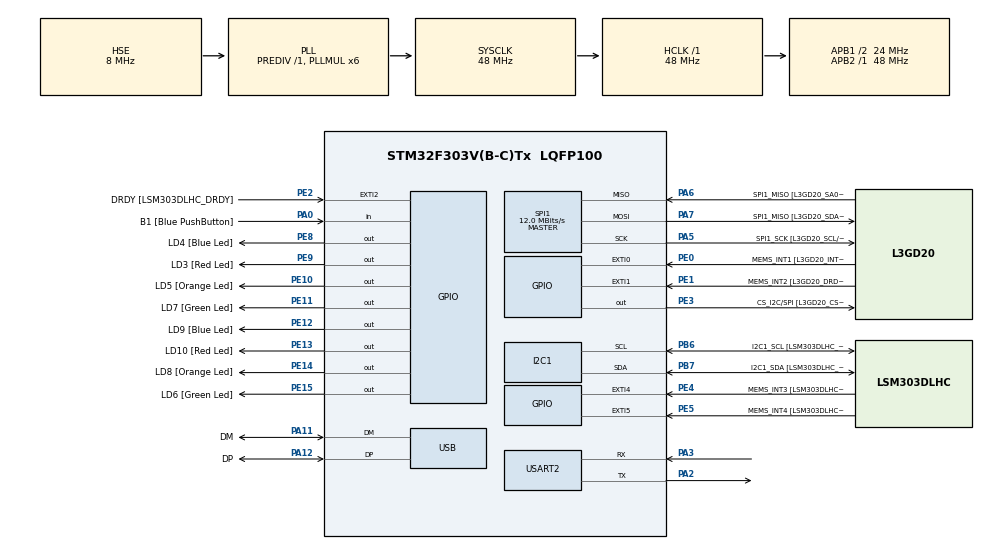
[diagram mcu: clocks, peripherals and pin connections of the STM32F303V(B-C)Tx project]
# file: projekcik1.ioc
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I2C1.Timing=0x00201D2B
I2C1.Timing-I2C=0x2000090E
Mcu.Family=STM32F3
Mcu.Name=STM32F303V(B-C)Tx
Mcu.Package=LQFP100
NVIC.PriorityGroup=NVIC_PRIORITYGROUP_0
PA0.GPIO_Label=B1 [Blue PushButton]
PA0.Signal=GPIO_Input
PA11.GPIO_Label=DM
PA11.Mode=Device
PA11.Signal=USB_DM
PA12.GPIO_Label=DP
PA12.Mode=Device
PA12.Signal=USB_DP
PA13.GPIO_Label=SWDIO
PA13.Mode=Serial_Wire
PA13.Signal=SYS_JTMS-SWDIO
PA14.GPIO_Label=SWCLK
PA14.Mode=Serial_Wire
PA14.Signal=SYS_JTCK-SWCLK
PA2.Mode=Asynchronous
PA2.Signal=USART2_TX
PA3.Mode=Asynchronous
PA3.Signal=USART2_RX
PA5.GPIO_Label=SPI1_SCK [L3GD20_SCL/SPC]
PA5.Mode=Full_Duplex_Master
PA5.Signal=SPI1_SCK
PA6.GPIO_Label=SPI1_MISO [L3GD20_SA0/SDO]
PA6.Mode=Full_Duplex_Master
PA6.Signal=SPI1_MISO
PA7.GPIO_Label=SPI1_MISO [L3GD20_SDA/SDI/SDO]
PA7.Mode=Full_Duplex_Master
PA7.Signal=SPI1_MOSI
PB3.GPIO_Label=SWO
PB3.Signal=SYS_JTDO-TRACESWO
PB6.GPIO_Label=I2C1_SCL [LSM303DLHC_SCL]
PB6.GPIO_Pu=GPIO_PULLUP
PB6.Mode=I2C
PB6.Signal=I2C1_SCL
PB7.GPIO_Label=I2C1_SDA [LSM303DLHC_SDA]
PB7.GPIO_Pu=GPIO_PULLUP
PB7.Mode=I2C
PB7.Signal=I2C1_SDA
PC14-OSC32_IN.GPIO_Label=OSC32_IN
PC14-OSC32_IN.Signal=RCC_OSC32_IN
PC15-OSC32_OUT.GPIO_Label=OSC32_OUT
PC15-OSC32_OUT.Signal=RCC_OSC32_OUT
PE0.GPIO_Label=MEMS_INT1 [L3GD20_INT1]
PE0.GPIO_ModeDefaultEXTI=GPIO_MODE_EVT_RISING
PE0.Signal=GPXTI0
PE1.GPIO_Label=MEMS_INT2 [L3GD20_DRDY/INT2]
PE1.GPIO_ModeDefaultEXTI=GPIO_MODE_EVT_RISING
PE1.Signal=GPXTI1
PE10.GPIO_Label=LD5 [Orange Led]
PE10.Signal=GPIO_Output
PE11.GPIO_Label=LD7 [Green Led]
PE11.Signal=GPIO_Output
PE12.GPIO_Label=LD9 [Blue Led]
PE12.Signal=GPIO_Output
PE13.GPIO_Label=LD10 [Red Led]
PE13.Signal=GPIO_Output
PE14.GPIO_Label=LD8 [Orange Led]
PE14.Signal=GPIO_Output
PE15.GPIO_Label=LD6 [Green Led]
PE15.Signal=GPIO_Output
PE2.GPIO_Label=DRDY [LSM303DLHC_DRDY]
PE2.GPIO_ModeDefaultEXTI=GPIO_MODE_EVT_RISING
PE2.Signal=GPXTI2
PE3.GPIO_Label=CS_I2C/SPI [L3GD20_CS_I2C/SPI]
PE3.Signal=GPIO_Output
PE4.GPIO_Label=MEMS_INT3 [LSM303DLHC_INT1]
PE4.GPIO_ModeDefaultEXTI=GPIO_MODE_EVT_RISING
PE4.Signal=GPXTI4
PE5.GPIO_Label=MEMS_INT4 [LSM303DLHC_INT2]
PE5.GPIO_ModeDefaultEXTI=GPIO_MODE_EVT_RISING
PE5.Signal=GPXTI5
PE8.GPIO_Label=LD4 [Blue Led]
PE8.Signal=GPIO_Output
PE9.GPIO_Label=LD3 [Red Led]
PE9.Signal=GPIO_Output
PF0-OSC_IN.GPIO_Label=OSC_IN
PF0-OSC_IN.Mode=HSE-External-Clock-Source
PF0-OSC_IN.Signal=RCC_OSC_IN
PF1-OSC_OUT.GPIO_Label=OSC_OUT
PF1-OSC_OUT.Signal=RCC_OSC_OUT
ProjectManager.HeapSize=0x200
ProjectManager.StackSize=0x400
ProjectManager.TargetToolchain=STM32CubeIDE
RCC.AHBFreq_Value=48000000
RCC.APB1CLKDivider=RCC_HCLK_DIV2
RCC.APB1Freq_Value=24000000
RCC.APB1TimFreq_Value=48000000
RCC.APB2Freq_Value=48000000
RCC.APB2TimFreq_Value=48000000
RCC.CortexFreq_Value=48000000
RCC.HCLKFreq_Value=48000000
RCC.HSE_VALUE=8000000
RCC.HSI_VALUE=8000000
RCC.LSE_VALUE=32768
RCC.PLLMUL=RCC_PLL_MUL6
RCC.SYSCLKFreq_VALUE=48000000
RCC.SYSCLKSourceVirtual=RCC_SYSCLKSOURCE_PLLCLK
RCC.USBFreq_Value=48000000
SPI1.BaudRatePrescaler=SPI_BAUDRATEPRESCALER_4
SPI1.BaudRatePrescaler-Full_Duplex_Master=SPI_BAUDRATEPRESCALER_2
SPI1.CalculateBaudRate=12.0 MBits/s
SPI1.CalculateBaudRate-Full_Duplex_Master=24.0 MBits/s
SPI1.Direction=SPI_DIRECTION_2LINES
SPI1.Mode=SPI_MODE_MASTER
SPI1.Mode-Full_Duplex_Master=SPI_MODE_MASTER
SPI1.VirtualType=VM_MASTER
USART2.VirtualMode-Asynchronous=VM_ASYNC
board=STM32F3DISCOVERY

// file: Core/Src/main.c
/* USER CODE BEGIN Header */
/**
  ******************************************************************************
  * @file           : main.c
  * @brief          : Main program body
  ******************************************************************************
  * @attention
  *
  * Copyright (c) 2026 STMicroelectronics.
  * All rights reserved.
  *
  * This software is licensed under terms that can be found in the LICENSE file
  * in the root directory of this software component.
  * If no LICENSE file comes with this software, it is provided AS-IS.
  *
  ******************************************************************************
  */
/* USER CODE END Header */
#include "main.h"
#include <stdio.h>

I2C_HandleTypeDef hi2c1;

SPI_HandleTypeDef hspi1;

UART_HandleTypeDef huart2;

PCD_HandleTypeDef hpcd_USB_FS;

void SystemClock_Config(void);
static void MX_GPIO_Init(void);
static void MX_I2C1_Init(void);
static void MX_SPI1_Init(void);
static void MX_USART2_UART_Init(void);
static void MX_USB_PCD_Init(void);

int main(void)
{

  /* MCU Configuration--------------------------------------------------------*/

  /* Reset of all peripherals, Initializes the Flash interface and the Systick. */
  HAL_Init();

  /* Configure the system clock */
  SystemClock_Config();

  /* Initialize all configured peripherals */
  MX_GPIO_Init();
  MX_I2C1_Init();
  MX_SPI1_Init();
  MX_USART2_UART_Init();
  MX_USB_PCD_Init();
  /* USER CODE BEGIN 2 */
#define ACC_ADDR (0x19 << 1)

  uint8_t ctrl = 0x27;
  HAL_I2C_Mem_Write(&hi2c1, ACC_ADDR, 0x20, 1, &ctrl, 1, HAL_MAX_DELAY);
  /* USER CODE END 2 */

  /* Infinite loop */
  /* USER CODE BEGIN WHILE */
  while (1)
  {
	  uint8_t data[6];

	  HAL_I2C_Mem_Read(&hi2c1, ACC_ADDR, 0x28 | 0x80, 1, data, 6, HAL_MAX_DELAY);
	  int16_t ax = data[0] | (data[1] << 8);
	  int16_t ay = data[2] | (data[3] << 8);
	  int16_t az = data[4] | (data[5] << 8);
	  printf("%d %d %d\n", ax, ay, az);
	  int threshold = 12000;

	  HAL_GPIO_WritePin(GPIOE, GPIO_PIN_13, GPIO_PIN_RESET);
	  HAL_GPIO_WritePin(GPIOE, GPIO_PIN_15, GPIO_PIN_RESET);
	  HAL_GPIO_WritePin(GPIOE, GPIO_PIN_11, GPIO_PIN_RESET);
	  HAL_GPIO_WritePin(GPIOE, GPIO_PIN_9, GPIO_PIN_RESET);

	  // 2. warunki
	  if(ax > threshold)
	      HAL_GPIO_WritePin(GPIOE, GPIO_PIN_9, GPIO_PIN_SET);

	  if(ax < -threshold)
	      HAL_GPIO_WritePin(GPIOE, GPIO_PIN_13, GPIO_PIN_SET);

	  if(ay > threshold)
	      HAL_GPIO_WritePin(GPIOE, GPIO_PIN_15, GPIO_PIN_SET);

	  if(ay < -threshold)
	      HAL_GPIO_WritePin(GPIOE, GPIO_PIN_11, GPIO_PIN_SET);

	  }
    /* USER CODE END WHILE */

  }

void SystemClock_Config(void)
{
  RCC_OscInitTypeDef RCC_OscInitStruct = {0};
  RCC_ClkInitTypeDef RCC_ClkInitStruct = {0};
  RCC_PeriphCLKInitTypeDef PeriphClkInit = {0};

  /** Initializes the RCC Oscillators according to the specified parameters
  * in the RCC_OscInitTypeDef structure.
  */
  RCC_OscInitStruct.OscillatorType = RCC_OSCILLATORTYPE_HSI|RCC_OSCILLATORTYPE_HSE;
  RCC_OscInitStruct.HSEState = RCC_HSE_BYPASS;
  RCC_OscInitStruct.HSEPredivValue = RCC_HSE_PREDIV_DIV1;
  RCC_OscInitStruct.HSIState = RCC_HSI_ON;
  RCC_OscInitStruct.HSICalibrationValue = RCC_HSICALIBRATION_DEFAULT;
  RCC_OscInitStruct.PLL.PLLState = RCC_PLL_ON;
  RCC_OscInitStruct.PLL.PLLSource = RCC_PLLSOURCE_HSE;
  RCC_OscInitStruct.PLL.PLLMUL = RCC_PLL_MUL6;
  if (HAL_RCC_OscConfig(&RCC_OscInitStruct) != HAL_OK)
  {
    Error_Handler();
  }

  /** Initializes the CPU, AHB and APB buses clocks
  */
  RCC_ClkInitStruct.ClockType = RCC_CLOCKTYPE_HCLK|RCC_CLOCKTYPE_SYSCLK
                              |RCC_CLOCKTYPE_PCLK1|RCC_CLOCKTYPE_PCLK2;
  RCC_ClkInitStruct.SYSCLKSource = RCC_SYSCLKSOURCE_PLLCLK;
  RCC_ClkInitStruct.AHBCLKDivider = RCC_SYSCLK_DIV1;
  RCC_ClkInitStruct.APB1CLKDivider = RCC_HCLK_DIV2;
  RCC_ClkInitStruct.APB2CLKDivider = RCC_HCLK_DIV1;

  if (HAL_RCC_ClockConfig(&RCC_ClkInitStruct, FLASH_LATENCY_1) != HAL_OK)
  {
    Error_Handler();
  }
  PeriphClkInit.PeriphClockSelection = RCC_PERIPHCLK_USB|RCC_PERIPHCLK_USART2
                              |RCC_PERIPHCLK_I2C1;
  PeriphClkInit.Usart2ClockSelection = RCC_USART2CLKSOURCE_PCLK1;
  PeriphClkInit.I2c1ClockSelection = RCC_I2C1CLKSOURCE_HSI;
  PeriphClkInit.USBClockSelection = RCC_USBCLKSOURCE_PLL;
  if (HAL_RCCEx_PeriphCLKConfig(&PeriphClkInit) != HAL_OK)
  {
    Error_Handler();
  }
}

static void MX_I2C1_Init(void)
{

  hi2c1.Instance = I2C1;
  hi2c1.Init.Timing = 0x00201D2B;
  hi2c1.Init.OwnAddress1 = 0;
  hi2c1.Init.AddressingMode = I2C_ADDRESSINGMODE_7BIT;
  hi2c1.Init.DualAddressMode = I2C_DUALADDRESS_DISABLE;
  hi2c1.Init.OwnAddress2 = 0;
  hi2c1.Init.OwnAddress2Masks = I2C_OA2_NOMASK;
  hi2c1.Init.GeneralCallMode = I2C_GENERALCALL_DISABLE;
  hi2c1.Init.NoStretchMode = I2C_NOSTRETCH_DISABLE;
  if (HAL_I2C_Init(&hi2c1) != HAL_OK)
  {
    Error_Handler();
  }

  /** Configure Analogue filter
  */
  if (HAL_I2CEx_ConfigAnalogFilter(&hi2c1, I2C_ANALOGFILTER_ENABLE) != HAL_OK)
  {
    Error_Handler();
  }

  /** Configure Digital filter
  */
  if (HAL_I2CEx_ConfigDigitalFilter(&hi2c1, 0) != HAL_OK)
  {
    Error_Handler();
  }

}

static void MX_SPI1_Init(void)
{

  /* SPI1 parameter configuration*/
  hspi1.Instance = SPI1;
  hspi1.Init.Mode = SPI_MODE_MASTER;
  hspi1.Init.Direction = SPI_DIRECTION_2LINES;
  hspi1.Init.DataSize = SPI_DATASIZE_4BIT;
  hspi1.Init.CLKPolarity = SPI_POLARITY_LOW;
  hspi1.Init.CLKPhase = SPI_PHASE_1EDGE;
  hspi1.Init.NSS = SPI_NSS_SOFT;
  hspi1.Init.BaudRatePrescaler = SPI_BAUDRATEPRESCALER_4;
  hspi1.Init.FirstBit = SPI_FIRSTBIT_MSB;
  hspi1.Init.TIMode = SPI_TIMODE_DISABLE;
  hspi1.Init.CRCCalculation = SPI_CRCCALCULATION_DISABLE;
  hspi1.Init.CRCPolynomial = 7;
  hspi1.Init.CRCLength = SPI_CRC_LENGTH_DATASIZE;
  hspi1.Init.NSSPMode = SPI_NSS_PULSE_ENABLE;
  if (HAL_SPI_Init(&hspi1) != HAL_OK)
  {
    Error_Handler();
  }

}

static void MX_USART2_UART_Init(void)
{

  huart2.Instance = USART2;
  huart2.Init.BaudRate = 38400;
  huart2.Init.WordLength = UART_WORDLENGTH_8B;
  huart2.Init.StopBits = UART_STOPBITS_1;
  huart2.Init.Parity = UART_PARITY_NONE;
  huart2.Init.Mode = UART_MODE_TX_RX;
  huart2.Init.HwFlowCtl = UART_HWCONTROL_NONE;
  huart2.Init.OverSampling = UART_OVERSAMPLING_16;
  huart2.Init.OneBitSampling = UART_ONE_BIT_SAMPLE_DISABLE;
  huart2.AdvancedInit.AdvFeatureInit = UART_ADVFEATURE_NO_INIT;
  if (HAL_UART_Init(&huart2) != HAL_OK)
  {
    Error_Handler();
  }

}

static void MX_USB_PCD_Init(void)
{

  hpcd_USB_FS.Instance = USB;
  hpcd_USB_FS.Init.dev_endpoints = 8;
  hpcd_USB_FS.Init.speed = PCD_SPEED_FULL;
  hpcd_USB_FS.Init.phy_itface = PCD_PHY_EMBEDDED;
  hpcd_USB_FS.Init.low_power_enable = DISABLE;
  hpcd_USB_FS.Init.battery_charging_enable = DISABLE;
  if (HAL_PCD_Init(&hpcd_USB_FS) != HAL_OK)
  {
    Error_Handler();
  }

}

static void MX_GPIO_Init(void)
{
  GPIO_InitTypeDef GPIO_InitStruct = {0};

  /* GPIO Ports Clock Enable */
  __HAL_RCC_GPIOE_CLK_ENABLE();
  __HAL_RCC_GPIOC_CLK_ENABLE();
  __HAL_RCC_GPIOF_CLK_ENABLE();
  __HAL_RCC_GPIOA_CLK_ENABLE();
  __HAL_RCC_GPIOB_CLK_ENABLE();

  /*Configure GPIO pin Output Level */
  HAL_GPIO_WritePin(GPIOE, CS_I2C_SPI_Pin|LD4_Pin|LD3_Pin|LD5_Pin
                          |LD7_Pin|LD9_Pin|LD10_Pin|LD8_Pin
                          |LD6_Pin, GPIO_PIN_RESET);

  /*Configure GPIO pins : DRDY_Pin MEMS_INT3_Pin MEMS_INT4_Pin MEMS_INT1_Pin
                           MEMS_INT2_Pin */
  GPIO_InitStruct.Pin = DRDY_Pin|MEMS_INT3_Pin|MEMS_INT4_Pin|MEMS_INT1_Pin
                          |MEMS_INT2_Pin;
  GPIO_InitStruct.Mode = GPIO_MODE_EVT_RISING;
  GPIO_InitStruct.Pull = GPIO_NOPULL;
  HAL_GPIO_Init(GPIOE, &GPIO_InitStruct);

  /*Configure GPIO pins : CS_I2C_SPI_Pin LD4_Pin LD3_Pin LD5_Pin
                           LD7_Pin LD9_Pin LD10_Pin LD8_Pin
                           LD6_Pin */
  GPIO_InitStruct.Pin = CS_I2C_SPI_Pin|LD4_Pin|LD3_Pin|LD5_Pin
                          |LD7_Pin|LD9_Pin|LD10_Pin|LD8_Pin
                          |LD6_Pin;
  GPIO_InitStruct.Mode = GPIO_MODE_OUTPUT_PP;
  GPIO_InitStruct.Pull = GPIO_NOPULL;
  GPIO_InitStruct.Speed = GPIO_SPEED_FREQ_LOW;
  HAL_GPIO_Init(GPIOE, &GPIO_InitStruct);

  /*Configure GPIO pin : B1_Pin */
  GPIO_InitStruct.Pin = B1_Pin;
  GPIO_InitStruct.Mode = GPIO_MODE_INPUT;
  GPIO_InitStruct.Pull = GPIO_NOPULL;
  HAL_GPIO_Init(B1_GPIO_Port, &GPIO_InitStruct);

}

void Error_Handler(void)
{
  __disable_irq();
  while (1)
  {
  }
}
